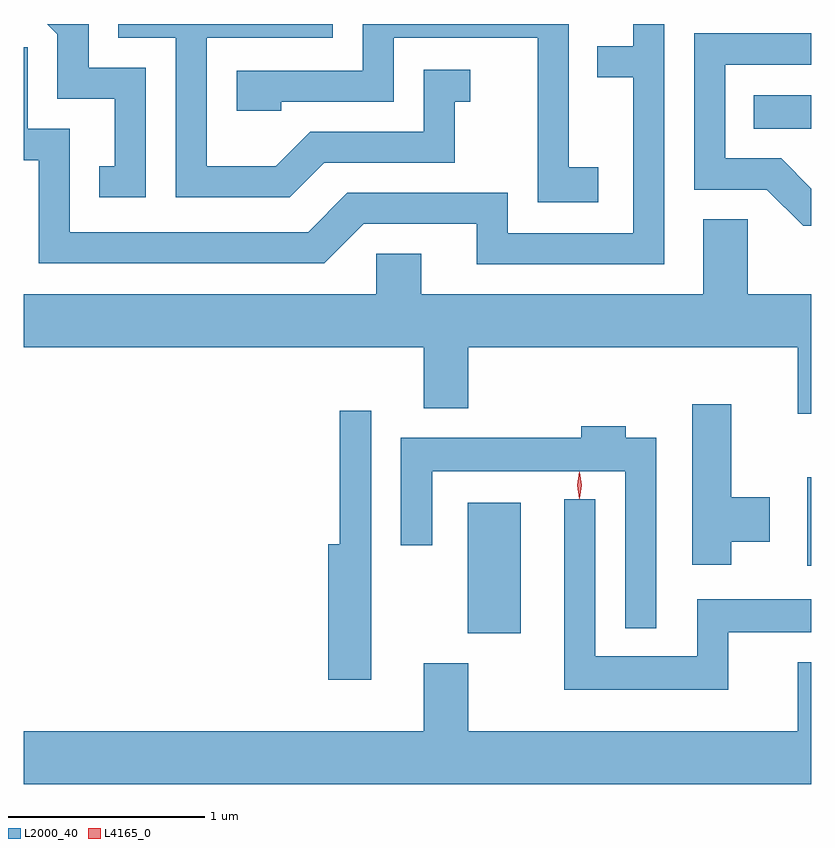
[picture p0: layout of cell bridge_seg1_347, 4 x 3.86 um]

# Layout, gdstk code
import gdstk
lib = gdstk.Library(unit=1e-6, precision=1e-09)
def R(c, l, rs):  # rectangles x0, y0, x1, y1
    for r in rs: c.add(gdstk.rectangle(r[:2], r[2:], *l))
def P(c, l, *ps):  # polygons
    for p in ps: c.add(gdstk.Polygon(p, *l))
L2000_40 = (2000, 40)
L4165_0 = (4165, 0)

bridge_seg1_347 = lib.new_cell('bridge_seg1_347')
R(bridge_seg1_347, L2000_40, [(909.756,889.241,910.024,889.904), (911.481,889.586,911.5,890.034), (911.208,891.806,911.5,891.974)])
P(bridge_seg1_347, L2000_40, [(908.119,892.114),(907.829,892.114),(907.829,892.337),(907.618,892.337),(907.671,892.284),(907.671,891.956),(907.961,891.956),(907.961,891.614),(907.883,891.614),(907.883,891.456),(908.119,891.456)],
  [(909.027,891.631),(909.689,891.631),(909.689,891.941),(909.768,891.941),(909.768,892.104),(909.531,892.104),(909.531,891.789),(908.954,891.789),(908.779,891.614),(908.429,891.614),(908.429,892.266),(909.069,892.266),(909.069,892.337),(907.981,892.337),(907.981,892.266),(908.271,892.266),(908.271,891.456),(908.852,891.456)],
  [(910.754,892.337),(910.596,892.337),(910.596,892.224),(910.413,892.224),(910.413,892.066),(910.596,892.066),(910.596,891.274),(909.959,891.274),(909.959,891.479),(909.144,891.479),(908.944,891.279),(907.734,891.279),(907.734,891.804),(907.519,891.804),(907.519,892.219),(907.5,892.219),(907.5,891.646),(907.576,891.646),(907.576,891.121),(909.027,891.121),(909.227,891.321),(909.801,891.321),(909.801,891.116),(910.754,891.116)],
  [(910.419,891.609),(910.269,891.609),(910.269,892.337),(909.221,892.337),(909.221,892.099),(908.581,892.099),(908.581,891.896),(908.809,891.896),(908.809,891.941),(909.379,891.941),(909.379,892.266),(910.111,892.266),(910.111,891.431),(910.419,891.431)],
  [(911.5,891.501),(911.347,891.654),(911.064,891.654),(911.064,892.131),(911.5,892.131),(911.5,892.289),(910.906,892.289),(910.906,891.496),(911.274,891.496),(911.459,891.311),(911.5,891.311)],
  [(911.5,890.964),(911.179,890.964),(911.179,891.344),(910.951,891.344),(910.951,890.964),(909.519,890.964),(909.519,891.169),(909.291,891.169),(909.291,890.964),(907.5,890.964),(907.5,890.696),(909.531,890.696),(909.531,890.386),(909.759,890.386),(909.759,890.696),(911.431,890.696),(911.431,890.356),(911.5,890.356)],
  [(911.094,889.706),(911.289,889.706),(911.289,889.934),(911.094,889.934),(911.094,890.404),(910.896,890.404),(910.896,889.591),(911.094,889.591)],
  [(909.264,890.373),(909.106,890.373),(909.106,889.694),(909.046,889.694),(909.046,889.006),(909.264,889.006)],
  [(910.714,890.234),(910.559,890.234),(910.559,890.294),(910.331,890.294),(910.331,890.234),(909.416,890.234),(909.416,889.688),(909.574,889.688),(909.574,890.066),(910.556,890.066),(910.556,889.268),(910.714,889.268)],
  [(911.079,889.246),(911.5,889.246),(911.5,889.414),(910.921,889.414),(910.921,889.124),(910.404,889.124),(910.404,889.923),(910.246,889.923),(910.246,888.956),(911.079,888.956)],
  [(911.5,889.094),(911.431,889.094),(911.431,888.744),(909.759,888.744),(909.759,889.089),(909.531,889.089),(909.531,888.744),(907.5,888.744),(907.5,888.476),(911.5,888.476)])
P(bridge_seg1_347, L4165_0, [(910.323,889.927),(910.314,889.994),(910.323,890.06),(910.324,890.06),(910.324,890.06),(910.334,889.994),(910.324,889.927),(910.324,889.927)],
  [(910.322,889.923),(910.322,889.924),(910.312,889.993),(910.322,890.062),(910.322,890.063),(910.323,890.062),(910.332,889.993),(910.323,889.924)])

lib.write_gds('bridge_seg1_347.gds')
